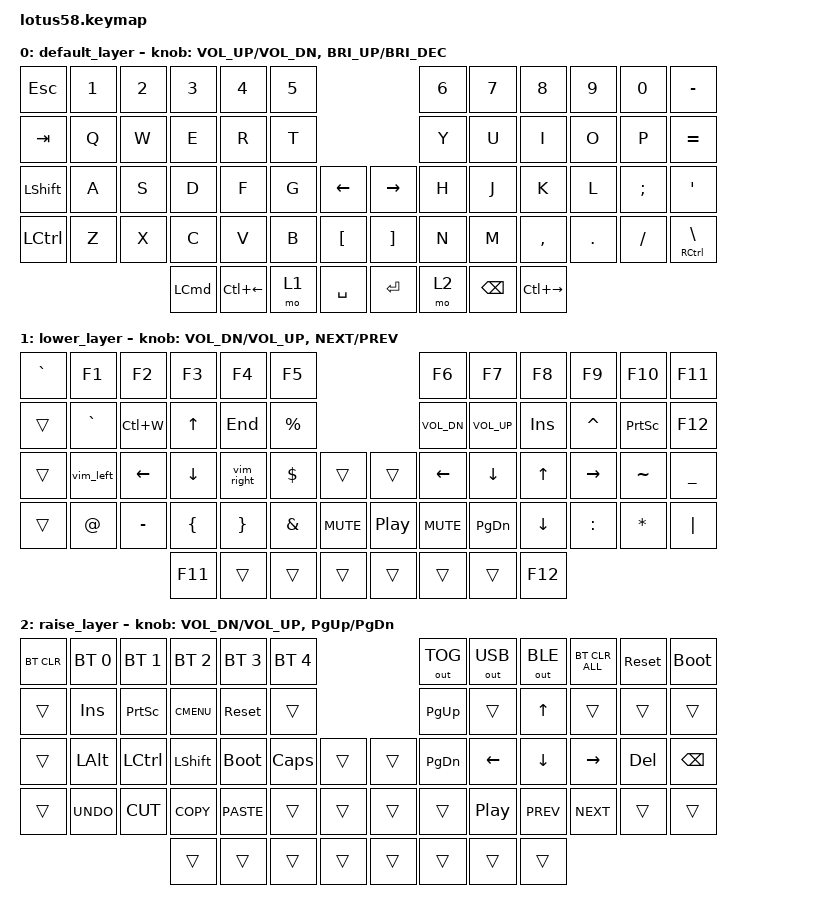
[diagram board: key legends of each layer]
/*
 * Copyright (c) 2022 The ZMK Contributors
 *
 * SPDX-License-Identifier: MIT
 */

#include <behaviors.dtsi>
#include <dt-bindings/zmk/bt.h>
#include <dt-bindings/zmk/keys.h>
#include <dt-bindings/zmk/outputs.h>

/ {
    combos {
        compatible = "zmk,combos";

        combo_dsklg {
            timeout-ms = <100>;
            key-positions = <24 52>;
            layers = <0>;
            bindings = <&kp LGUI>;
        };
    };

    behaviors {
        fofunc: four_ffour {
            compatible = "zmk,behavior-mod-morph";
            #binding-cells = <0>;
            bindings = <&kp N4>, <&kp F4>;

            mods = <(MOD_LALT|MOD_RALT)>;
        };

        sleft: s_left {
            compatible = "zmk,behavior-mod-morph";
            #binding-cells = <0>;
            bindings = <&kp S>, <&kp LEFT>;

            mods = <(MOD_LGUI|MOD_RGUI)>;
        };

        fright: f_right {
            compatible = "zmk,behavior-mod-morph";
            #binding-cells = <0>;
            bindings = <&kp F>, <&kp RIGHT>;

            mods = <(MOD_LGUI|MOD_RGUI)>;
        };
    };

    macros {
        vim_right: vim_right {
            compatible = "zmk,behavior-macro";
            #binding-cells = <0>;
            bindings = <&kp LC(W) &kp RIGHT_ARROW>;
            label = "VIM_RIGHT";
        };

        vim_left: vim_left {
            compatible = "zmk,behavior-macro";
            #binding-cells = <0>;
            bindings = <&kp LC(W) &kp LEFT_ARROW>;
            label = "VIM_LEFT";
        };
    };

    keymap {
        compatible = "zmk,keymap";

        default_layer {
            //   ------------------------------------------------------------------------------------------------------------
            //  0|  ESC  |  1  |  2  |  3   |  4   |  5   |                     |  6   |  7    |  8    |  9   |   0   |   =   | 11
            // 12|  TAB  |  Q  |  W  |  E   |  R   |  T   |                     |  Y   |  U    |  I    |  O   |   P   |   [   | 23
            // 24|  SFT  |  A  |  S  |  D   |  F   |  G   |  RESET  |  | RESET  |  H   |  J    |  K    |  L   |   ;   | ' SFT | 37
            // 38|  CTRL |  Z  |  X  |  C   |  V   |  B   |  MUTE   |  | PLAY   |  N   |  M    |  ,    |  .   |   /   | \ CTRL| 51
            // 52                    |ENT RS|  ALT | SPACE|DELETE LW|  |ENTER RS| BSPC |  ] LW | RGUI  |                        59

            bindings = <
&kp ESC    &kp N1  &kp N2  &kp N3            &kp NUMBER_4        &kp N5                                       &kp N6  &kp N7         &kp N8               &kp N9   &kp N0    &kp MINUS
&kp TAB    &kp Q   &kp W   &kp E             &kp R               &kp T                                        &kp Y   &kp U          &kp I                &kp O    &kp P     &kp EQUAL
&kp LSHFT  &kp A   &kp S   &kp D             &kp F               &kp G   &kp LEFT_ARROW    &kp RIGHT          &kp H   &kp J          &kp K                &kp L    &kp SEMI  &kp SQT
&kp LCTRL  &kp Z   &kp X   &kp C             &kp V               &kp B   &kp LEFT_BRACKET  &kp RIGHT_BRACKET  &kp N   &kp M          &kp COMMA            &kp DOT  &kp FSLH  &mt RCTRL BSLH
                           &kp LEFT_COMMAND  &kp LC(LEFT_ARROW)  &mo 1   &kp SPACE         &kp ENTER          &mo 2   &kp BACKSPACE  &kp LC(RIGHT_ARROW)
            >;

            sensor-bindings =
                <&inc_dec_kp C_VOL_UP C_VOL_DN>,
                <&inc_dec_kp C_BRI_UP C_BRI_DEC>;
        };

        lower_layer {
            // ------------------------------------------------------------------------------------------------------------
            // | `     |  F1 |  F2 |  F3  |  F4  |  F5  |                   |  F6  |  F7   |  F8   |  F9  |  F10  |  F11  |
            // |       |  !  | HOME|   ^  |  END |  %   |                   | VOL^ |  PGUP |  INS  |  ^   |  PSCR |   -   |
            // |       |  #  |  <- |   v  | ->   |  $   |        |  |       | VOLv |    <- |   ^   |  ->  |   ~   |   _   |
            // |       |  @  |  -  |  (   |  )   |  &   |        |  |       | MUTE |  PGDN |   v   |  :   |   *   |   |   |
            //                     |  F11 |      |      |        |  |       |      |       |  F12  |

            bindings = <
&kp GRAVE  &kp F1     &kp F2     &kp F3    &kp F4      &kp F5                           &kp F6          &kp F7          &kp F8    &kp F9     &kp F10    &kp F11
&trans     &kp GRAVE  &kp LC(W)  &kp UP    &kp END     &kp PRCNT                        &kp C_VOL_DN    &kp C_VOL_UP    &kp INS   &kp CARET  &kp PSCRN  &kp F12
&trans     &vim_left  &kp LEFT   &kp DOWN  &vim_right  &kp DLLR   &trans      &trans    &kp LEFT_ARROW  &kp DOWN_ARROW  &kp UP    &kp RIGHT  &kp TILDE  &kp UNDER
&trans     &kp AT     &kp MINUS  &kp LBRC  &kp RBRC    &kp AMPS   &kp C_MUTE  &kp C_PP  &kp C_MUTE      &kp PG_DN       &kp DOWN  &kp COLON  &kp STAR   &kp PIPE
                                 &kp F11   &trans      &trans     &trans      &trans    &trans          &trans          &kp F12
            >;

            sensor-bindings = <&inc_dec_kp C_VOL_DN C_VOL_UP &inc_dec_kp C_NEXT C_PREV>;
        };

        raise_layer {
            // ------------------------------------------------------------------------------------------------------------
            // |BTCLR| BT1  | BT2  |  BT3  |  BT4  |  BT5 |                |OUTTOG|OUTUSB| OUTBT |      | RESET | FLASH |
            // |     | INS  | PSCR | GUI   | RESET |      |                | PGUP |      |   ^   |      |       |       |
            // |     | ALT  | CTRL | SHIFT | FLASH | CAPS |      |  |      | PGDN |   <- |   v   |  ->  |  DEL  | BSPC  |
            // |     | UNDO | CUT  | COPY  | PASTE |      |      |  |      |      |  |>  |  <|<| | |>|> |       |       |
            //                     |       |       |      |      |  |      |      |      |       |

            bindings = <
&bt BT_CLR  &bt BT_SEL 0  &bt BT_SEL 1  &bt BT_SEL 2  &bt BT_SEL 3  &bt BT_SEL 4                  &out OUT_TOG  &out OUT_USB  &out OUT_BLE  &bt BT_CLR_ALL  &sys_reset  &bootloader
&trans      &kp INS       &kp PSCRN     &kp K_CMENU   &sys_reset    &trans                        &kp PG_UP     &trans        &kp UP        &trans          &trans      &trans
&trans      &kp LALT      &kp LCTRL     &kp LSHFT     &bootloader   &kp CLCK      &trans  &trans  &kp PG_DN     &kp LEFT      &kp DOWN      &kp RIGHT       &kp DEL     &kp BSPC
&trans      &kp K_UNDO    &kp K_CUT     &kp K_COPY    &kp K_PASTE   &trans        &trans  &trans  &trans        &kp C_PP      &kp C_PREV    &kp C_NEXT      &trans      &trans
                                        &trans        &trans        &trans        &trans  &trans  &trans        &trans        &trans
            >;

            sensor-bindings = <&inc_dec_kp C_VOL_DN C_VOL_UP &inc_dec_kp PG_UP PG_DN>;
        };
    };
};
